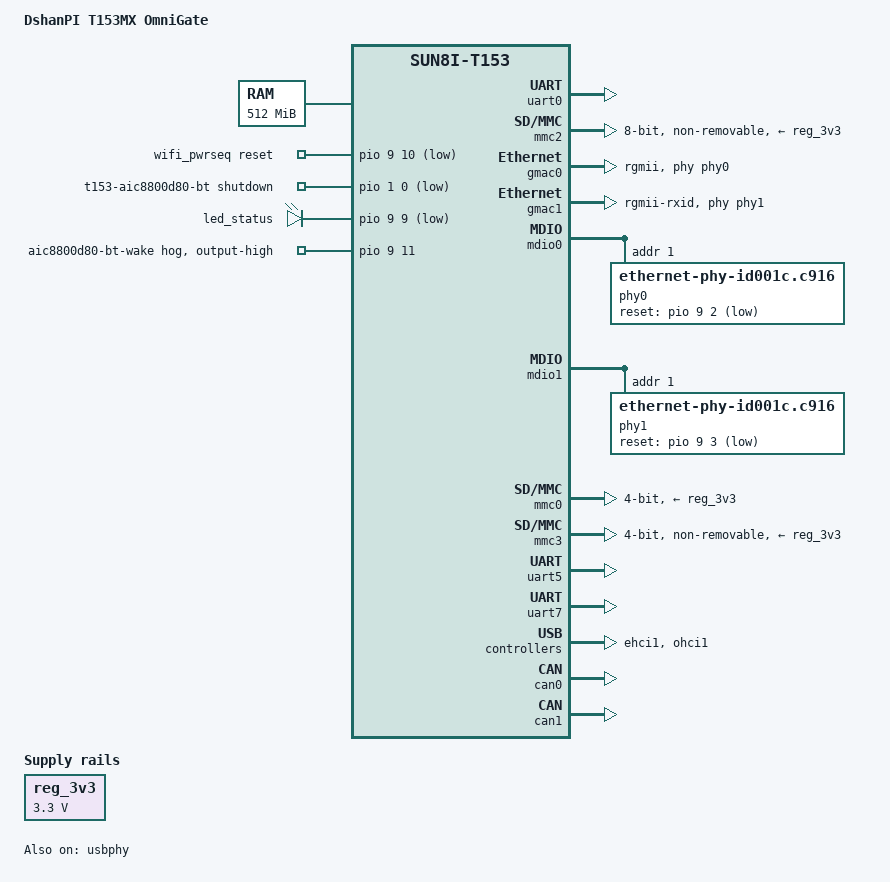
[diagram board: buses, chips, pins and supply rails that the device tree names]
// SPDX-License-Identifier: (GPL-2.0+ OR MIT)
/dts-v1/;
#include "sun8i-t153.dtsi"
#include <dt-bindings/gpio/gpio.h>
#include <dt-bindings/leds/common.h>

/ {
	model = "DshanPI T153MX OmniGate";
	compatible = "dshanpi,t153mx-omnigate", "allwinner,sun8i-t153";

	aliases {
		serial0 = &uart0;
		serial5 = &uart5;
		serial7 = &uart7;
		ethernet0 = &gmac0;
		ethernet1 = &gmac1;
		mmc0 = &mmc2;
		mmc1 = &mmc0;
		mmc2 = &mmc3;
		led-boot = &led_status;
		led-failsafe = &led_status;
		led-running = &led_status;
		led-upgrade = &led_status;
	};
	chosen {
		stdout-path = "serial0:115200n8";
	};
	memory@40000000 {
		device_type = "memory";
		reg = <0x40000000 0x20000000>;
	};

	/* Preserve firmware-owned memory when booting from the existing monitor. */
	reserved-memory {
		#address-cells = <1>;
		#size-cells = <1>;
		ranges;
		remoteproc@42100000 {
			reg = <0x42100000 0x004c5000>;
			no-map;
		};
		secure-monitor@42900000 {
			reg = <0x42900000 0x00100000>;
			no-map;
		};
		remoteproc@44000000 {
			reg = <0x44000000 0x00200000>;
			no-map;
		};
	};

	reg_3v3: regulator-3v3 {
		compatible = "regulator-fixed";
		regulator-name = "vcc-3v3";
		regulator-min-microvolt = <3300000>;
		regulator-max-microvolt = <3300000>;
		regulator-always-on;
	};
	wifi_pwrseq: wifi-pwrseq {
		compatible = "mmc-pwrseq-simple";
		reset-gpios = <&pio 9 10 GPIO_ACTIVE_LOW>;
		post-power-on-delay-ms = <200>;
	};
	bluetooth-rfkill {
		compatible = "rfkill-gpio";
		label = "t153-aic8800d80-bt";
		radio-type = "bluetooth";
		/* Match the validated Tina AIC8800D80 path: PB0 low enables BT. */
		shutdown-gpios = <&pio 1 0 GPIO_ACTIVE_LOW>;
	};
	leds {
		compatible = "gpio-leds";
		led_status: led-0 {
			function = LED_FUNCTION_STATUS;
			gpios = <&pio 9 9 GPIO_ACTIVE_LOW>;
			default-state = "keep";
		};
	};
};

&pio {

	vcc-pa-supply = <&reg_3v3>;
	vcc-pb-supply = <&reg_3v3>;
	/* PC I/O rail and voltage-select registers are retained from firmware. */
	vcc-pe-supply = <&reg_3v3>;
	vcc-pf-supply = <&reg_3v3>;
	vcc-pg-supply = <&reg_3v3>;
	vcc-pj-supply = <&reg_3v3>;

	/* Keep the controller awake until the AIC low-power handshake is ported. */
	bluetooth-device-wake-hog {
		gpio-hog;
		gpios = <9 11 GPIO_ACTIVE_HIGH>;
		output-high;
		line-name = "aic8800d80-bt-wake";
	};
};

&uart0 {
	pinctrl-names = "default";
	pinctrl-0 = <&uart0_pb_pins>;
	status = "okay";
};

&mmc2 {
	pinctrl-names = "default";
	pinctrl-0 = <&mmc2_pins>;
	vmmc-supply = <&reg_3v3>;
	bus-width = <8>;
	non-removable;
	no-sd;
	no-sdio;
	/* Qualify higher transfer modes on hardware before enabling them. */
	max-frequency = <25000000>;
	status = "okay";
};

&gmac0 {
	pinctrl-names = "default";
	pinctrl-0 = <&rgmii0_pins>;
	phy-mode = "rgmii";
	phy-handle = <&phy0>;
	allwinner,tx-delay-taps = <4>;
	allwinner,rx-delay-taps = <6>;
	allwinner,external-rgmii-clock;
	status = "okay";
};
&gmac1 {
	pinctrl-names = "default";
	pinctrl-0 = <&rgmii1_pins>;
	/* Keep the qualified MAC taps and add the PHY RX delay. */
	phy-mode = "rgmii-rxid";
	phy-handle = <&phy1>;
	allwinner,tx-delay-taps = <9>;
	allwinner,rx-delay-taps = <6>;
	allwinner,external-rgmii-clock;
	allwinner,provide-phy-clock;
	assigned-clocks = <&ccu CLK_GMAC1_PHY>;
	assigned-clock-rates = <25000000>;
	status = "okay";
};
&mdio0 {
	phy0: ethernet-phy@1 {
		compatible = "ethernet-phy-id001c.c916";
		reg = <1>;
		reset-gpios = <&pio 9 2 GPIO_ACTIVE_LOW>;
		reset-assert-us = <10000>;
		/* Allow RTL8211F settling and its 100 ms configuration window. */
		reset-deassert-us = <150000>;
	};
};
&mdio1 {
	phy1: ethernet-phy@1 {
		compatible = "ethernet-phy-id001c.c916";
		reg = <1>;
		reset-gpios = <&pio 9 3 GPIO_ACTIVE_LOW>;
		reset-assert-us = <10000>;
		/* Allow RTL8211F settling and its 100 ms configuration window. */
		reset-deassert-us = <150000>;
	};
};

&mmc0 {
	pinctrl-names = "default";
	pinctrl-0 = <&mmc0_pins>;
	vmmc-supply = <&reg_3v3>;
	bus-width = <4>;
	broken-cd;
	no-mmc;
	no-sdio;
	no-1-8-v;
	max-frequency = <25000000>;
	status = "okay";
};

/* SDIO transport for the separately packaged AIC8800D80 full-MAC driver. */
&mmc3 {
	pinctrl-names = "default";
	pinctrl-0 = <&mmc3_pins>;
	vmmc-supply = <&reg_3v3>;
	mmc-pwrseq = <&wifi_pwrseq>;
	bus-width = <4>;
	non-removable;
	no-mmc;
	no-sd;
	no-1-8-v;
	cap-sdio-irq;
	max-frequency = <25000000>;
	status = "okay";
};

&uart5 {
	pinctrl-names = "default";
	pinctrl-0 = <&uart5_pins>;
	/* Only TX/RX are wired on PJ0/PJ1. */
	status = "okay";
};

/* UART H4; AIC firmware is uploaded by the shared SDIO BSP/FDRV first. */
&uart7 {
	pinctrl-names = "default";
	pinctrl-0 = <&uart7_pins>;
	uart-has-rtscts;
	status = "okay";
};

&usbphy { status = "okay"; };
&ehci1 { status = "okay"; };
&ohci1 { status = "okay"; };

&can0 {
	pinctrl-names = "default";
	pinctrl-0 = <&can0_pins>;
	status = "okay";
};

&can1 {
	pinctrl-names = "default";
	pinctrl-0 = <&can1_pins>;
	status = "okay";
};
